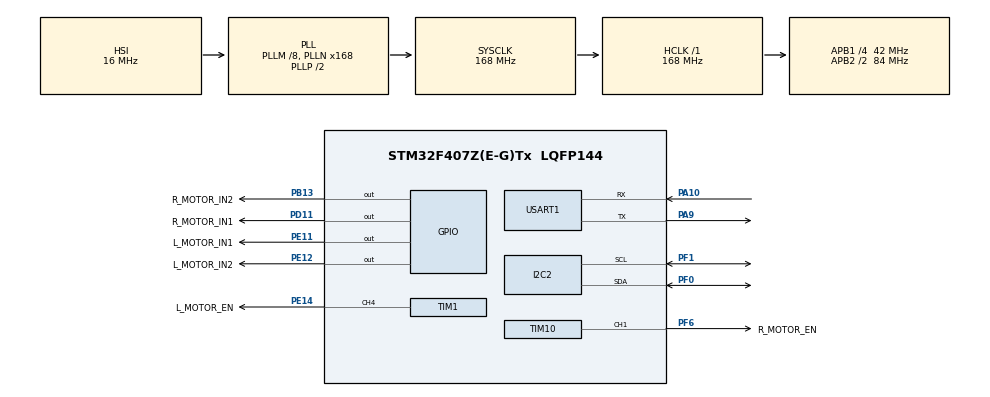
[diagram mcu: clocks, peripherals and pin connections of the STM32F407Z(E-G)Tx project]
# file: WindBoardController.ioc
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Mcu.Family=STM32F4
Mcu.Name=STM32F407Z(E-G)Tx
Mcu.Package=LQFP144
NVIC.PriorityGroup=NVIC_PRIORITYGROUP_4
NVIC.TIM8_TRG_COM_TIM14_IRQn=true\:0\:0\:false\:false\:true\:true\:true
PA10.Mode=Asynchronous
PA10.Signal=USART1_RX
PA13.Mode=Serial_Wire
PA13.Signal=SYS_JTMS-SWDIO
PA14.Mode=Serial_Wire
PA14.Signal=SYS_JTCK-SWCLK
PA9.Mode=Asynchronous
PA9.Signal=USART1_TX
PB13.GPIO_Label=R_MOTOR_IN2
PB13.Signal=GPIO_Output
PD11.GPIO_Label=R_MOTOR_IN1
PD11.Signal=GPIO_Output
PE11.GPIO_Label=L_MOTOR_IN1
PE11.Signal=GPIO_Output
PE12.GPIO_Label=L_MOTOR_IN2
PE12.Signal=GPIO_Output
PE14.GPIO_Label=L_MOTOR_EN
PE14.GPIO_Speed=GPIO_SPEED_FREQ_HIGH
PE14.Signal=S_TIM1_CH4
PF0.Mode=I2C
PF0.Signal=I2C2_SDA
PF1.Mode=I2C
PF1.Signal=I2C2_SCL
PF6.GPIO_Label=R_MOTOR_EN
PF6.GPIO_Speed=GPIO_SPEED_FREQ_HIGH
PF6.Signal=S_TIM10_CH1
PH0-OSC_IN.Mode=HSE-External-Oscillator
PH0-OSC_IN.Signal=RCC_OSC_IN
PH1-OSC_OUT.Mode=HSE-External-Oscillator
PH1-OSC_OUT.Signal=RCC_OSC_OUT
ProjectManager.HeapSize=0x200
ProjectManager.StackSize=0x400
ProjectManager.TargetToolchain=SW4STM32
RCC.48MHZClocksFreq_Value=84000000
RCC.AHBFreq_Value=168000000
RCC.APB1CLKDivider=RCC_HCLK_DIV4
RCC.APB1Freq_Value=42000000
RCC.APB1TimFreq_Value=84000000
RCC.APB2CLKDivider=RCC_HCLK_DIV2
RCC.APB2Freq_Value=84000000
RCC.APB2TimFreq_Value=168000000
RCC.CortexFreq_Value=168000000
RCC.HCLKFreq_Value=168000000
RCC.HSE_VALUE=8000000
RCC.HSI_VALUE=16000000
RCC.LSE_VALUE=32768
RCC.PLLM=8
RCC.PLLN=168
RCC.SYSCLKFreq_VALUE=168000000
RCC.SYSCLKSource=RCC_SYSCLKSOURCE_PLLCLK
RCC.VCOOutputFreq_Value=336000000
SH.S_TIM10_CH1.0=TIM10_CH1,PWM Generation1 CH1
SH.S_TIM1_CH4.0=TIM1_CH4,PWM Generation4 CH4
TIM1.Channel-PWM\ Generation4\ CH4=TIM_CHANNEL_4
TIM1.Period=2100-1
TIM1.Prescaler=8-1
TIM10.Channel=TIM_CHANNEL_1
TIM10.Period=2100-1
TIM10.Prescaler=8-1
TIM14.AutoReloadPreload=TIM_AUTORELOAD_PRELOAD_ENABLE
TIM14.Period=10000-1
TIM14.Prescaler=84-1
USART1.VirtualMode=VM_ASYNC
VP_TIM10_VS_ClockSourceINT.Mode=Enable_Timer
VP_TIM14_VS_ClockSourceINT.Mode=Enable_Timer
board=custom

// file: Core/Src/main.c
/* USER CODE BEGIN Header */
/**
  ******************************************************************************
  * @file           : main.c
  * @brief          : Main program body
  ******************************************************************************
  * @attention
  *
  * <h2><center>&copy; Copyright (c) 2021 STMicroelectronics.
  * All rights reserved.</center></h2>
  *
  * This software component is licensed by ST under BSD 3-Clause license,
  * the "License"; You may not use this file except in compliance with the
  * License. You may obtain a copy of the License at:
  *                        opensource.org/licenses/BSD-3-Clause
  *
  ******************************************************************************
  */
/* USER CODE END Header */
#include "main.h"
#include "i2c.h"
#include "tim.h"
#include "usart.h"
#include "gpio.h"

/* USER CODE BEGIN Includes */
#include "stdio.h"
#include "string.h"
#include "ADS1X15_Capi.h"
#include "CorelessMotor.h"
#include "pid.h"
/* USER CODE END Includes */

void SystemClock_Config(void);

/* USER CODE BEGIN PFP */
int __io_putchar(int ch) {
    uint8_t temp[1] = {ch};
    HAL_UART_Transmit(&huart1, temp, 1, 0xff);
    return (ch);
}
/* USER CODE END PFP */

int main(void) {

    /* MCU Configuration--------------------------------------------------------*/

    /* Reset of all peripherals, Initializes the Flash interface and the Systick. */
    HAL_Init();

    /* Configure the system clock */
    SystemClock_Config();

    /* Initialize all configured peripherals */
    MX_GPIO_Init();
    MX_I2C2_Init();
    MX_TIM1_Init();
    MX_TIM10_Init();
    MX_USART1_UART_Init();
    MX_TIM14_Init();
    /* USER CODE BEGIN 2 */
    ADS1X15_Init();
    PID_Init(&l_motor_pid, 150, 0.5, 800);
    PID_Init(&r_motor_pid, 160, 0.7, 2300);
    uint16_t angle = 90;
    PID_SetAngle(&l_motor_pid, angle);
    PID_SetAngle(&r_motor_pid, angle);
    HAL_TIM_PWM_Start(&htim1, TIM_CHANNEL_4);
    HAL_TIM_PWM_Start(&htim10, TIM_CHANNEL_1);
    HAL_TIM_Base_Start_IT(&htim14);
    /* USER CODE END 2 */

    /* Infinite loop */
    /* USER CODE BEGIN WHILE */
#pragma clang diagnostic push
#pragma ide diagnostic ignored "EndlessLoop"
    while (1) {
//        LMotor_SetSpeed(2000);
////        HAL_Delay(2000);
//        RMotor_SetSpeed(2000);
//        HAL_Delay(4000);
//        RMotor_SetSpeed(0);
////        HAL_Delay(2000);
//        LMotor_SetSpeed(0);
//        HAL_Delay(2000);

//        int16_t vol = ADS1X15_GetADCValue();
//        char ch[30];
//        sprintf(ch, "adc:%d\r\n", vol);
//        HAL_UART_Transmit(&huart1, ch, strlen(ch), 0xff);
//        HAL_Delay(1000);
        /* USER CODE END WHILE */

        /* USER CODE BEGIN 3 */
    }
#pragma clang diagnostic pop
    /* USER CODE END 3 */
}

void SystemClock_Config(void) {
    RCC_OscInitTypeDef RCC_OscInitStruct = {0};
    RCC_ClkInitTypeDef RCC_ClkInitStruct = {0};

    /** Configure the main internal regulator output voltage
    */
    __HAL_RCC_PWR_CLK_ENABLE();
    __HAL_PWR_VOLTAGESCALING_CONFIG(PWR_REGULATOR_VOLTAGE_SCALE1);
    /** Initializes the RCC Oscillators according to the specified parameters
    * in the RCC_OscInitTypeDef structure.
    */
    RCC_OscInitStruct.OscillatorType = RCC_OSCILLATORTYPE_HSI;
    RCC_OscInitStruct.HSIState = RCC_HSI_ON;
    RCC_OscInitStruct.HSICalibrationValue = RCC_HSICALIBRATION_DEFAULT;
    RCC_OscInitStruct.PLL.PLLState = RCC_PLL_ON;
    RCC_OscInitStruct.PLL.PLLSource = RCC_PLLSOURCE_HSI;
    RCC_OscInitStruct.PLL.PLLM = 8;
    RCC_OscInitStruct.PLL.PLLN = 168;
    RCC_OscInitStruct.PLL.PLLP = RCC_PLLP_DIV2;
    RCC_OscInitStruct.PLL.PLLQ = 4;
    if (HAL_RCC_OscConfig(&RCC_OscInitStruct) != HAL_OK) {
        Error_Handler();
    }
    /** Initializes the CPU, AHB and APB buses clocks
    */
    RCC_ClkInitStruct.ClockType = RCC_CLOCKTYPE_HCLK | RCC_CLOCKTYPE_SYSCLK
                                  | RCC_CLOCKTYPE_PCLK1 | RCC_CLOCKTYPE_PCLK2;
    RCC_ClkInitStruct.SYSCLKSource = RCC_SYSCLKSOURCE_PLLCLK;
    RCC_ClkInitStruct.AHBCLKDivider = RCC_SYSCLK_DIV1;
    RCC_ClkInitStruct.APB1CLKDivider = RCC_HCLK_DIV4;
    RCC_ClkInitStruct.APB2CLKDivider = RCC_HCLK_DIV2;

    if (HAL_RCC_ClockConfig(&RCC_ClkInitStruct, FLASH_LATENCY_5) != HAL_OK) {
        Error_Handler();
    }
}

/* USER CODE BEGIN 4 */
void HAL_TIM_PeriodElapsedCallback(TIM_HandleTypeDef *htim) {
    if (htim->Instance == htim14.Instance) {
        uint16_t adcValue = ADS1X15_GetADCValue();
        PID_Calculate(&l_motor_pid, adcValue);
        PID_Calculate(&r_motor_pid, adcValue);
        LMotor_SetSpeed(600 + l_motor_pid.output);
        RMotor_SetSpeed(600 - r_motor_pid.output);
    }
}
/* USER CODE END 4 */

void Error_Handler(void) {
    __disable_irq();
    while (1) {
    }
}

/************************ (C) COPYRIGHT STMicroelectronics *****END OF FILE****/
